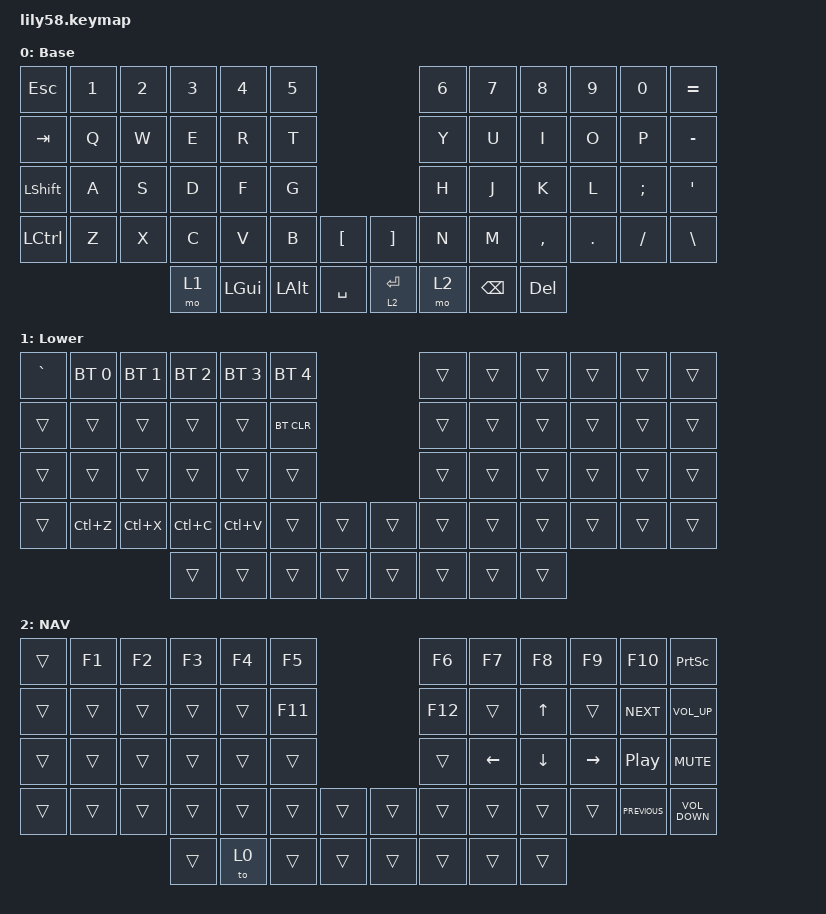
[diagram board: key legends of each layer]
/*
 * Copyright (c) 2020 The ZMK Contributors
 *
 * SPDX-License-Identifier: MIT
 */

#include <behaviors.dtsi>
#include <dt-bindings/zmk/bt.h>
#include <dt-bindings/zmk/keys.h>

/ {
    keymap {
        compatible = "zmk,keymap";

        default_layer {
            // ------------------------------------------------------------------------------------------------------------
            // |  ESC  |  1  |  2  |  3   |  4   |  5   |                   |  6   |  7    |  8    |  9   |   0   |   `   |
            // |  TAB  |  Q  |  W  |  E   |  R   |  T   |                   |  Y   |  U    |  I    |  O   |   P   |   -   |
            // |  CTRL |  A  |  S  |  D   |  F   |  G   |                   |  H   |  J    |  K    |  L   |   ;   |   '   |
            // | SHIFT |  Z  |  X  |  C   |  V   |  B   |   "["  |  |  "]"  |  N   |  M    |  ,    |  .   |   /   | SHIFT |
            //                     | ALT  | GUI  | LOWER|  SPACE |  | ENTER | RAISE| BSPC  | GUI   |

            display-name = "Base";
            bindings = <
&kp ESC    &kp N1  &kp N2  &kp N3  &kp N4    &kp N5                                  &kp N6  &kp N7    &kp N8     &kp N9   &kp N0    &kp EQUAL
&kp TAB    &kp Q   &kp W   &kp E   &kp R     &kp T                                   &kp Y   &kp U     &kp I      &kp O    &kp P     &kp MINUS
&kp LSHFT  &kp A   &kp S   &kp D   &kp F     &kp G                                   &kp H   &kp J     &kp K      &kp L    &kp SEMI  &kp SQT
&kp LCTRL  &kp Z   &kp X   &kp C   &kp V     &kp B         &kp LBKT     &kp RBKT     &kp N   &kp M     &kp COMMA  &kp DOT  &kp FSLH  &kp BACKSLASH
                           &mo 1   &kp LGUI  &kp LEFT_ALT  &kp SPACE    &lt 2 ENTER  &mo 2   &kp BSPC  &kp DEL
            >;
        };

        lower_layer {
            bindings = <
&kp GRAVE  &bt BT_SEL 0  &bt BT_SEL 1  &bt BT_SEL 2  &bt BT_SEL 3  &bt BT_SEL 4                    &trans  &trans  &trans  &trans  &trans  &trans
&trans     &trans        &trans        &trans        &trans        &bt BT_CLR                      &trans  &trans  &trans  &trans  &trans  &trans
&trans     &trans        &trans        &trans        &trans        &trans                          &trans  &trans  &trans  &trans  &trans  &trans
&trans     &kp LC(Z)     &kp LC(X)     &kp LC(C)     &kp LC(V)     &trans        &trans    &trans  &trans  &trans  &trans  &trans  &trans  &trans
                                       &trans        &trans        &trans        &trans    &trans  &trans  &trans  &trans
            >;

            label = "Lower";
        };

        nav_layer {
            bindings = <
&trans  &kp F1  &kp F2  &kp F3  &kp F4  &kp F5                     &kp F6   &kp F7          &kp F8          &kp F9           &kp F10           &kp PRINTSCREEN
&trans  &trans  &trans  &trans  &trans  &kp F11                    &kp F12  &trans          &kp UP_ARROW    &trans           &kp C_NEXT        &kp C_VOLUME_UP
&trans  &trans  &trans  &trans  &trans  &trans                     &trans   &kp LEFT_ARROW  &kp DOWN_ARROW  &kp RIGHT_ARROW  &kp C_PLAY_PAUSE  &kp C_MUTE
&trans  &trans  &trans  &trans  &trans  &trans   &trans    &trans  &trans   &trans          &trans          &trans           &kp C_PREVIOUS    &kp C_VOLUME_DOWN
                        &trans  &to 0   &trans   &trans    &trans  &trans   &trans          &trans
            >;

            label = "NAV";
        };
    };
};
